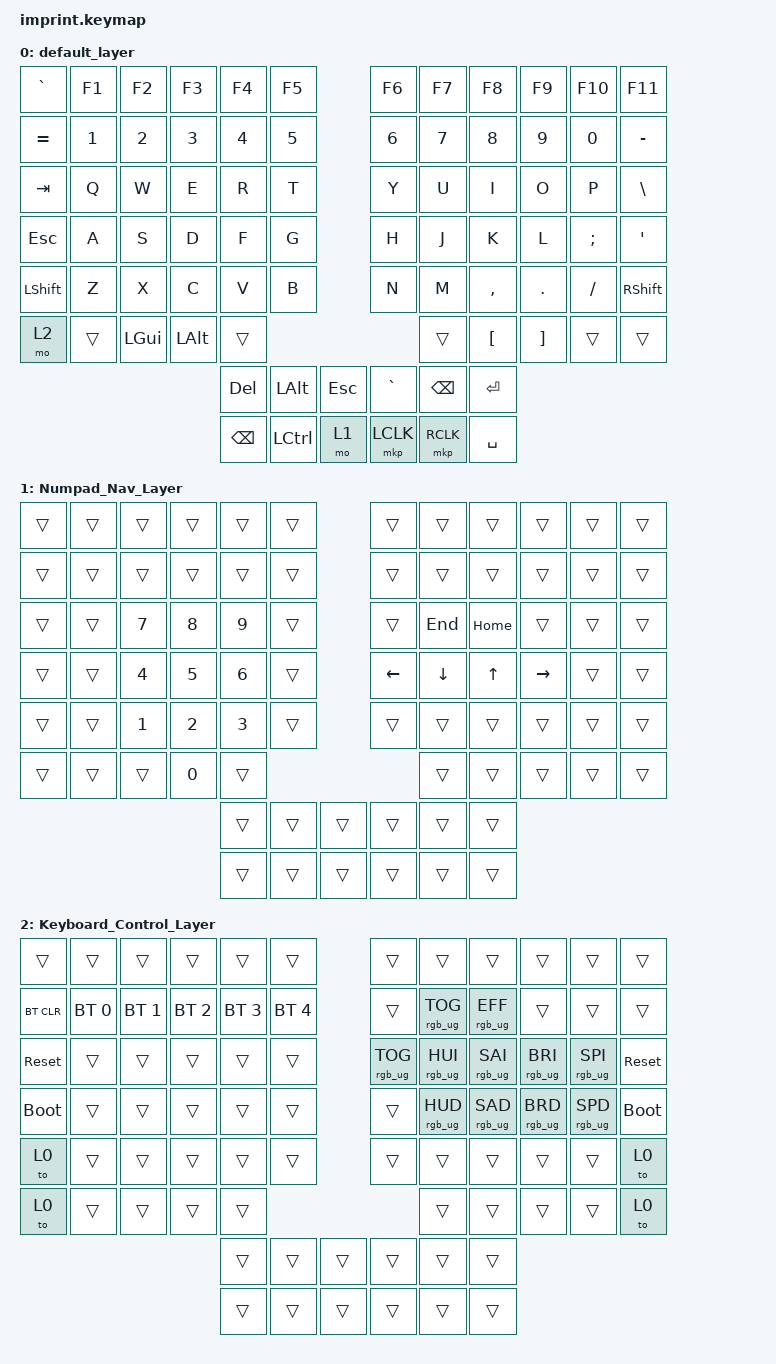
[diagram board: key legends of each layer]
#include <input/processors.dtsi>
#include <dt-bindings/zmk/input_transform.h>
#include <behaviors.dtsi>
#include <dt-bindings/zmk/bt.h>
#include <dt-bindings/zmk/keys.h>
#include <dt-bindings/zmk/pointing.h>
#include <dt-bindings/zmk/rgb.h>

/ {
    chosen { zmk,matrix-transform = &imprint_function_row_full_bottom_row; };

    keymap {
        compatible = "zmk,keymap";

        /*         default_layer { */
        /*             bindings = < */
        /* &kp ESC    &kp F1  &kp F2    &kp F3    &kp F4    &kp F5              &kp F6     &kp F7    &kp F8     &kp F9    &kp F10   &kp F11 */
        /* &kp EQUAL  &kp N1  &kp N2    &kp N3    &kp N4    &kp N5              &kp N6     &kp N7    &kp N8     &kp N9    &kp N0    &kp MINUS */
        /* &kp TAB    &kp Q   &kp W     &kp E     &kp R     &kp T               &kp Y      &kp U     &kp I      &kp O     &kp P     &kp BSLH */
        /* &kp LCTRL  &kp A   &kp S     &kp D     &kp F     &kp G               &kp H      &kp J     &kp K      &kp L     &kp SEMI  &kp SQT */
        /* &kp LSHFT  &kp Z   &kp X     &kp C     &kp V     &kp B               &kp N      &kp M     &kp COMMA  &kp DOT   &kp FSLH  &kp RSHFT */
        /* &trans     &trans  &kp LGUI  &kp LALT  &trans                                   &trans    &kp LBKT   &kp RBKT  &trans    &trans */
        /*                                        &kp RET   &kp DEL  &kp ESC    &kp GRAVE  &kp BSPC  &kp SPACE */
        /*                                        &kp LGUI  &mo 1    &mo 2      &kp CAPS   &mo 2     &mo 1 */
        /*             >; */
        /*         }; */

        default_layer {
            bindings = <
&kp GRAVE  &kp F1  &kp F2    &kp F3    &kp F4         &kp F5                   &kp F6     &kp F7     &kp F8      &kp F9    &kp F10   &kp F11
&kp EQUAL  &kp N1  &kp N2    &kp N3    &kp N4         &kp N5                   &kp N6     &kp N7     &kp N8      &kp N9    &kp N0    &kp MINUS
&kp TAB    &kp Q   &kp W     &kp E     &kp R          &kp T                    &kp Y      &kp U      &kp I       &kp O     &kp P     &kp BSLH
&kp ESC    &kp A   &kp S     &kp D     &kp F          &kp G                    &kp H      &kp J      &kp K       &kp L     &kp SEMI  &kp SQT
&kp LSHFT  &kp Z   &kp X     &kp C     &kp V          &kp B                    &kp N      &kp M      &kp COMMA   &kp DOT   &kp FSLH  &kp RSHFT
&mo 2      &trans  &kp LGUI  &kp LALT  &trans                                             &trans     &kp LBKT    &kp RBKT  &trans    &trans
                                       &kp DELETE     &kp LEFT_ALT  &kp ESC    &kp GRAVE  &kp BSPC   &kp RETURN
                                       &kp BACKSPACE  &kp LCTRL     &mo 1      &mkp LCLK  &mkp RCLK  &kp SPACE
            >;
        };

        Numpad_Nav_Layer {
            bindings = <
&trans  &trans  &trans  &trans  &trans  &trans            &trans    &trans    &trans        &trans     &trans  &trans
&trans  &trans  &trans  &trans  &trans  &trans            &trans    &trans    &trans        &trans     &trans  &trans
&trans  &trans  &kp N7  &kp N8  &kp N9  &trans            &trans    &kp END   &kp HOME      &trans     &trans  &trans
&trans  &trans  &kp N4  &kp N5  &kp N6  &trans            &kp LEFT  &kp DOWN  &kp UP_ARROW  &kp RIGHT  &trans  &trans
&trans  &trans  &kp N1  &kp N2  &kp N3  &trans            &trans    &trans    &trans        &trans     &trans  &trans
&trans  &trans  &trans  &kp N0  &trans                              &trans    &trans        &trans     &trans  &trans
                                &trans  &trans  &trans    &trans    &trans    &trans
                                &trans  &trans  &trans    &trans    &trans    &trans
            >;
        };

        Keyboard_Control_Layer {
            bindings = <
&trans       &trans        &trans        &trans        &trans        &trans                  &trans           &trans           &trans           &trans           &trans           &trans
&bt BT_CLR   &bt BT_SEL 0  &bt BT_SEL 1  &bt BT_SEL 2  &bt BT_SEL 3  &bt BT_SEL 4            &trans           &rgb_ug RGB_TOG  &rgb_ug RGB_EFF  &trans           &trans           &trans
&sys_reset   &trans        &trans        &trans        &trans        &trans                  &rgb_ug RGB_TOG  &rgb_ug RGB_HUI  &rgb_ug RGB_SAI  &rgb_ug RGB_BRI  &rgb_ug RGB_SPI  &sys_reset
&bootloader  &trans        &trans        &trans        &trans        &trans                  &trans           &rgb_ug RGB_HUD  &rgb_ug RGB_SAD  &rgb_ug RGB_BRD  &rgb_ug RGB_SPD  &bootloader
&to 0        &trans        &trans        &trans        &trans        &trans                  &trans           &trans           &trans           &trans           &trans           &to 0
&to 0        &trans        &trans        &trans        &trans                                                 &trans           &trans           &trans           &trans           &to 0
                                                       &trans        &trans        &trans    &trans           &trans           &trans
                                                       &trans        &trans        &trans    &trans           &trans           &trans
            >;
        };
    };
};

// right hand trackball configuration
// &trackball_peripheral_listener {
//    input-processors =
//     activate layer 3 within 500ms of the trackball moving
//     <&zip_temp_layer 3 500>;
// };
//left hand trackball configuration

&trackball_central_listener {
    input-processors =
        // multiply sensitivity by 1, divide by 3 (make it slower for scrolling),,,,,,
        <&zip_xy_scaler 1 3>,
        // make this trackball output scrolling events by default instead of cursor movement,,,,,,
        <&zip_xy_to_scroll_mapper>,
        // invert vertical scrolling so that the view moves in the same direction as the top of the trackball.,,,,,,
        <&zip_scroll_transform INPUT_TRANSFORM_Y_INVERT>;
};
